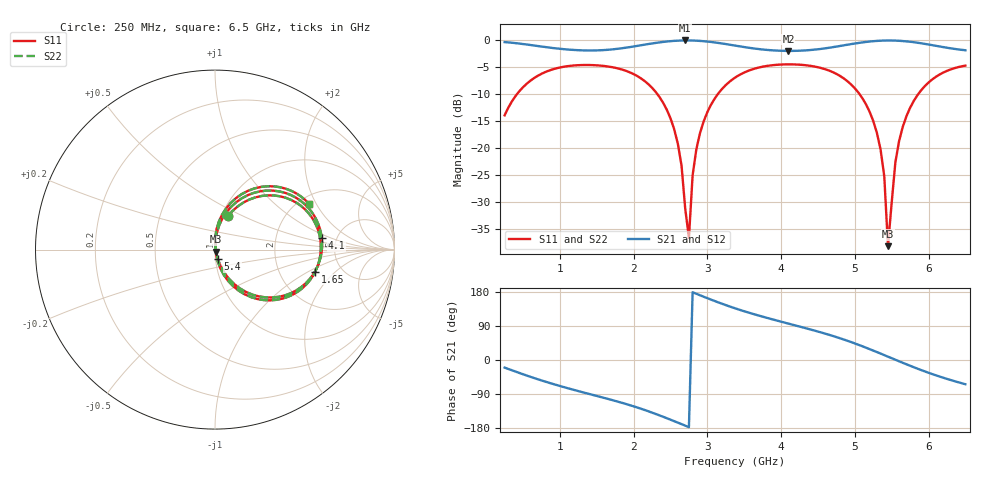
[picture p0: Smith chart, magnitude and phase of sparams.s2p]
! NobuRF kit-ro100-r2-line12: ports 1 "p1", 2 "p2"; 7600 + 7600 steps
# GHz S RI R 50
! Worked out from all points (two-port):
!   126 points, 250 MHz to 6.5 GHz, reference 50 ohm
!   highest |S21| = -0.03 dB at 2.7 GHz (marker M1); lowest = -2.0 dB at 4.1 GHz (marker M2)
!   |S21| within 3 dB of the highest: start of sweep to end of sweep
!   lowest |S11| = -38.2 dB at 5.45 GHz (marker M3), VSWR 1.02, Z = 50.5 - j1.12 ohm
!   |S11| at or under -10 dB: start of sweep to 417.6 MHz; 2.323 GHz to 3.141 GHz (818.7 MHz wide, 30 % of centre); 5.065 GHz to 5.859 GHz (794.8 MHz wide, 14.6 % of centre)
!   |S22| runs from -38.2 to -4.5 dB; largest |S21 - S12| = 4.3e-08
!   S11 on the Smith chart (normalised r, x): 250 MHz: 1.07, +0.42; 1.65 GHz: 3.21, -1.17; 4.1 GHz: 3.82, +0.76; 5.4 GHz: 1.03, -0.11; 6.5 GHz: 2.26, +1.75
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0.25  0.0733 0.1877  0.9039 -0.3307  0.9039 -0.3307  0.0733 0.1877
0.65  0.3291 0.3016  0.6038 -0.66  0.6038 -0.66  0.3291 0.3016
1.3  0.5869 0.0556  0.0755 -0.8034  0.0755 -0.8034  0.5869 0.0556
1.65  0.5588 -0.1221  -0.1784 -0.7969  -0.1784 -0.7969  0.5588 -0.1221
2.35  0.1649 -0.2488  -0.7934 -0.5337  -0.7934 -0.5337  0.1649 -0.2488
2.6  0.03 -0.1054  -0.9596 -0.2518  -0.9596 -0.2518  0.03 -0.1054
2.65  0.0155 -0.0669  -0.9777 -0.1854  -0.9777 -0.1854  0.0155 -0.0669
2.7  0.0062 -0.0267  -0.9897 -0.1173  -0.9897 -0.1173  0.0062 -0.0267
2.75  0.00236 0.0145  -0.9953 -0.0482  -0.9953 -0.0482  0.00236 0.0145
2.8  0.00402 0.0558  -0.9946 0.021  -0.9946 0.021  0.00402 0.0558
2.95  0.0408 0.1725  -0.9557 0.2207  -0.9557 0.2207  0.0408 0.1725
3.4  0.3246 0.3286  -0.6266 0.629  -0.6266 0.629  0.3246 0.3286
4.1  0.5948 0.064  -0.0836 0.793  -0.0836 0.793  0.5948 0.064
4.45  0.5594 -0.118  0.1732 0.8003  0.1732 0.8003  0.5594 -0.118
5.1  0.1726 -0.2359  0.7688 0.5672  0.7688 0.5672  0.1726 -0.2359
5.3  0.0516 -0.1282  0.922 0.3522  0.922 0.3522  0.0516 -0.1282
5.4  0.0155 -0.0523  0.9694 0.2215  0.9694 0.2215  0.0155 -0.0523
5.45  0.00537 -0.0111  0.9839 0.1528  0.9839 0.1528  0.00537 -0.0111
5.5  0.000859 0.0312  0.9918 0.0828  0.9918 0.0828  0.000859 0.0312
5.6  0.009 0.1154  0.9878 -0.057  0.9878 -0.057  0.009 0.1154
5.8  0.0875 0.2599  0.9075 -0.3128  0.9075 -0.3128  0.0875 0.2599
6.5  0.5231 0.2559  0.3546 -0.7264  0.3546 -0.7264  0.5231 0.2559
